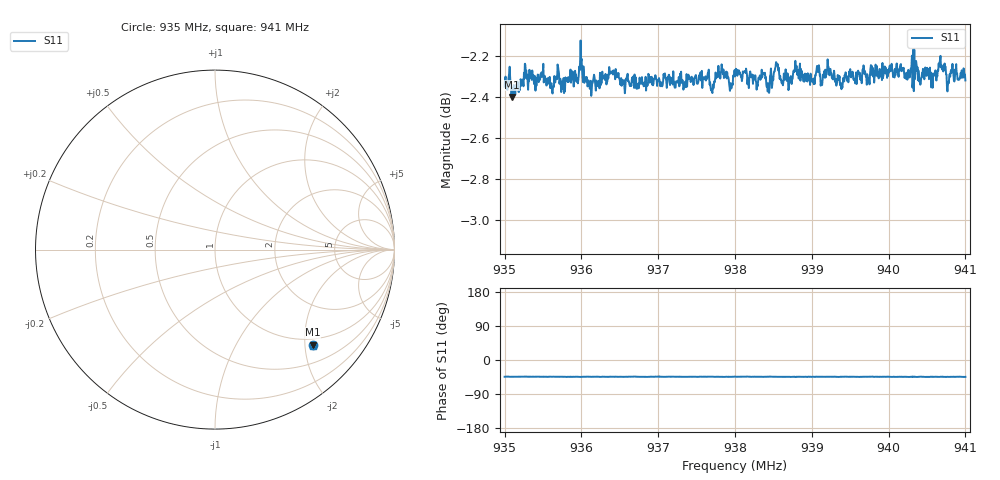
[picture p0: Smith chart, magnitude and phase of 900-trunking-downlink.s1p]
! Calibrated averaged scanner-service zoom
# Hz S RI R 50
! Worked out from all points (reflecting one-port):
!   1001 points, 935 MHz to 941 MHz, reference 50 ohm
!   lowest |S11| = -2.4 dB at 935.09 MHz (marker M1), VSWR 7.28, Z = 43.5 - j108 ohm
!   phase of S11 starts at -44 deg and turns -0 deg over the sweep
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9.35e8  0.546 -0.5327
9.3509e8  0.5437 -0.5288
9.35264e8  0.5582 -0.5343
9.3575e8  0.5448 -0.5325
9.3593e8  0.5505 -0.5356
9.35996e8  0.5503 -0.5439
9.36104e8  0.5477 -0.5311
9.36392e8  0.5547 -0.533
9.365e8  0.5486 -0.5342
9.3725e8  0.5479 -0.5335
9.37508e8  0.5449 -0.5359
9.37694e8  0.5492 -0.5277
9.3785e8  0.548 -0.5412
9.3794e8  0.5468 -0.534
9.38e8  0.5541 -0.5307
9.38378e8  0.5504 -0.5364
9.3845e8  0.5501 -0.5281
9.3854e8  0.554 -0.5394
9.38612e8  0.5442 -0.5365
9.3875e8  0.5463 -0.5372
9.39344e8  0.5446 -0.5382
9.395e8  0.5499 -0.5395
9.4025e8  0.5454 -0.5387
9.40424e8  0.5501 -0.534
9.40502e8  0.5477 -0.5425
9.40688e8  0.552 -0.5395
9.40778e8  0.5448 -0.537
9.41e8  0.5461 -0.5364
